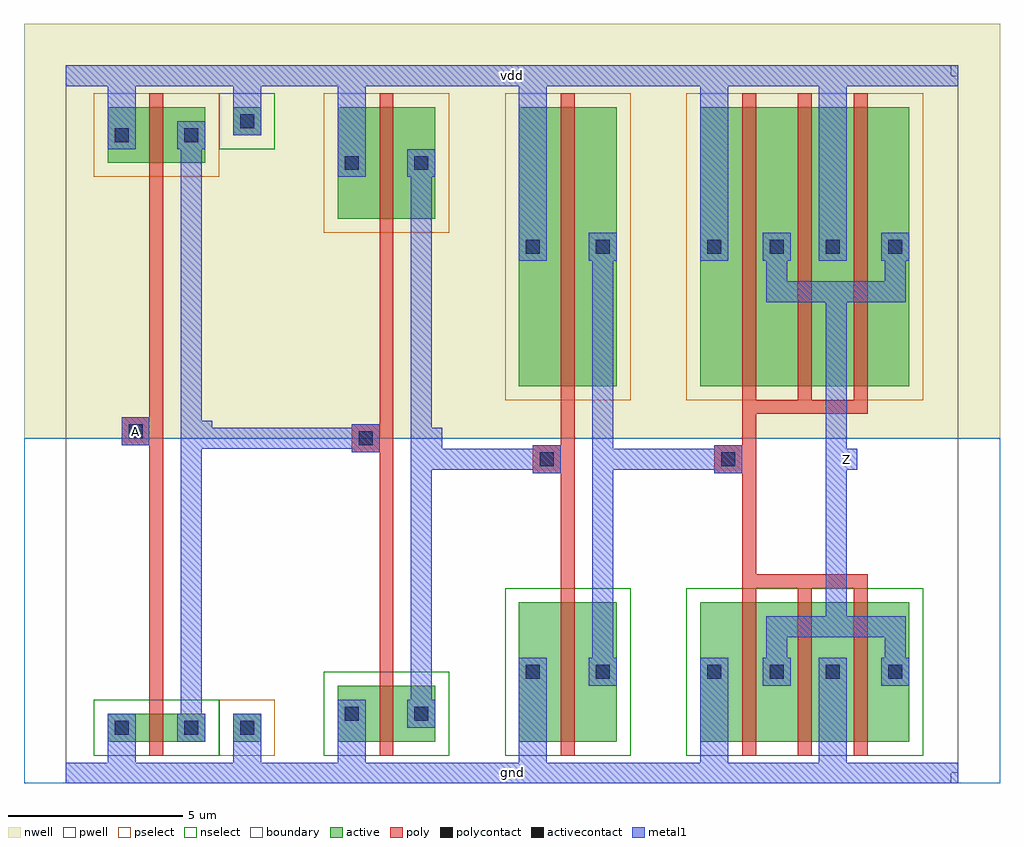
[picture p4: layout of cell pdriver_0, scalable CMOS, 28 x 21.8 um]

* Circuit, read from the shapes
.subckt pdriver_0 A Z gnd vdd
M1 pinv_5_1/A A gnd gnd nfet w=0.8u l=0.4u
M2 pinv_7_2/A pinv_5_1/A gnd gnd nfet w=1.6u l=0.4u
M3 pinv_8_3/A pinv_7_2/A gnd gnd nfet w=4u l=0.4u
M4 Z pinv_8_3/A gnd gnd nfet w=4u l=0.4u m=3
M5 pinv_5_1/A A vdd vdd pfet w=1.6u l=0.4u
M6 pinv_7_2/A pinv_5_1/A vdd vdd pfet w=3.2u l=0.4u
M7 pinv_8_3/A pinv_7_2/A vdd vdd pfet w=8u l=0.4u
M8 Z pinv_8_3/A vdd vdd pfet w=8u l=0.4u m=3
.ends

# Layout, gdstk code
import gdstk
lib = gdstk.Library(unit=1e-6, precision=1e-09)
def R(c, l, rs):  # rectangles x0, y0, x1, y1
    for r in rs: c.add(gdstk.rectangle(r[:2], r[2:], *l))
def A(c, l, x, y, w, h, nx, ny, dx, dy):  # array of equal rectangles
    R(c, l, [(x+i*dx, y+j*dy, x+i*dx+w, y+j*dy+h) for i in range(nx) for j in range(ny)])
pwell = (41, 0)
nwell = (42, 0)
active = (43, 0)
pselect = (44, 0)
nselect = (45, 0)
poly = (46, 0)
polycontact = (47, 0)
activecontact = (48, 0)
metal1 = (49, 0)
boundary = (63, 0)

contact_9 = lib.new_cell('contact_9')
R(contact_9, nwell, [(-1.2,-1.2,2,2)])
R(contact_9, active, [(0,0,0.8,0.8)])
R(contact_9, pselect, [(-0.4,-0.4,1.2,1.2)])
R(contact_9, activecontact, [(0.2,0.2,0.6,0.6)])
R(contact_9, metal1, [(0,0,0.8,0.8)])
R(contact_9, boundary, [(-1.2,-1.2,2,2)])

pmos_m1_w1_600_sm1_dm1_d = lib.new_cell('pmos_m1_w1_600_sm1_dm1_da_p')
R(pmos_m1_w1_600_sm1_dm1_d, nwell, [(-1.2,-1.2,4,2.8)])
R(pmos_m1_w1_600_sm1_dm1_d, active, [(0,0,2.8,1.6)])
R(pmos_m1_w1_600_sm1_dm1_d, pselect, [(-0.4,-0.4,3.2,2)])
R(pmos_m1_w1_600_sm1_dm1_d, poly, [(1.2,-0.4,1.6,2), (1.2,-0.4,1.6,2)])
R(pmos_m1_w1_600_sm1_dm1_d, metal1, [(0,0.4,0.8,1.2), (2,0.4,2.8,1.2)])
R(pmos_m1_w1_600_sm1_dm1_d, boundary, [(-1.2,-1.2,4,2.8)])
pmos_m1_w1_600_sm1_dm1_d.add(gdstk.Reference(contact_9, (0,0.4)))
pmos_m1_w1_600_sm1_dm1_d.add(gdstk.Reference(contact_9, (2,0.4)))
pmos_m1_w1_600_sm1_dm1_d.add(gdstk.Label('G', (1.4,0.8), layer=46, texttype=0))
pmos_m1_w1_600_sm1_dm1_d.add(gdstk.Label('S', (0.4,0.8), layer=49, texttype=0))
pmos_m1_w1_600_sm1_dm1_d.add(gdstk.Label('D', (2.4,0.8), layer=49, texttype=0))

contact_14 = lib.new_cell('contact_14')
R(contact_14, pwell, [(-1.2,-1.2,2,2)])
R(contact_14, active, [(0,0,0.8,0.8)])
R(contact_14, nselect, [(-0.4,-0.4,1.2,1.2)])
R(contact_14, activecontact, [(0.2,0.2,0.6,0.6)])
R(contact_14, metal1, [(0,0,0.8,0.8)])
R(contact_14, boundary, [(-1.2,-1.2,2,2)])

nmos_m1_w0_800_sm1_dm1_d = lib.new_cell('nmos_m1_w0_800_sm1_dm1_da_p')
R(nmos_m1_w0_800_sm1_dm1_d, pwell, [(-1.2,-1.2,4,2)])
R(nmos_m1_w0_800_sm1_dm1_d, active, [(0,0,2.8,0.8)])
R(nmos_m1_w0_800_sm1_dm1_d, nselect, [(-0.4,-0.4,3.2,1.2)])
R(nmos_m1_w0_800_sm1_dm1_d, poly, [(1.2,-0.4,1.6,1.2), (1.2,-0.4,1.6,1.2)])
R(nmos_m1_w0_800_sm1_dm1_d, metal1, [(0,0,0.8,0.8), (2,0,2.8,0.8)])
R(nmos_m1_w0_800_sm1_dm1_d, boundary, [(-1.2,-1.2,4,2)])
nmos_m1_w0_800_sm1_dm1_d.add(gdstk.Reference(contact_14, (0,0)))
nmos_m1_w0_800_sm1_dm1_d.add(gdstk.Reference(contact_14, (2,0)))
nmos_m1_w0_800_sm1_dm1_d.add(gdstk.Label('G', (1.4,0.4), layer=46, texttype=0))
nmos_m1_w0_800_sm1_dm1_d.add(gdstk.Label('S', (0.4,0.4), layer=49, texttype=0))
nmos_m1_w0_800_sm1_dm1_d.add(gdstk.Label('D', (2.4,0.4), layer=49, texttype=0))

contact_15 = lib.new_cell('contact_15')
R(contact_15, nwell, [(-1.2,-1.2,2,2)])
R(contact_15, active, [(0,0,0.8,0.8)])
R(contact_15, nselect, [(-0.4,-0.4,1.2,1.2)])
R(contact_15, activecontact, [(0.2,0.2,0.6,0.6)])
R(contact_15, metal1, [(0,0,0.8,0.8)])
R(contact_15, boundary, [(-1.2,-1.2,2,2)])

contact_16 = lib.new_cell('contact_16')
R(contact_16, pwell, [(-1.2,-1.2,2,2)])
R(contact_16, active, [(0,0,0.8,0.8)])
R(contact_16, pselect, [(-0.4,-0.4,1.2,1.2)])
R(contact_16, activecontact, [(0.2,0.2,0.6,0.6)])
R(contact_16, metal1, [(0,0,0.8,0.8)])
R(contact_16, boundary, [(-1.2,-1.2,2,2)])

contact_10 = lib.new_cell('contact_10')
R(contact_10, poly, [(0,0,0.8,0.8)])
R(contact_10, polycontact, [(0.2,0.2,0.6,0.6)])
R(contact_10, metal1, [(0,0,0.8,0.8)])
R(contact_10, boundary, [(0,0,0.8,0.8)])

pinv_6 = lib.new_cell('pinv_6')
R(pinv_6, pwell, [(-1.2,-0.3,7.8,9.6)])
R(pinv_6, nwell, [(-1.2,9.6,7.8,21.5)])
R(pinv_6, poly, [(2.4,2.1,2.8,17.1), (2,9.4,2.4,10.2)])
R(pinv_6, metal1, [(0,-0.3,6.6,0.3), (1.2,-0.3,2,0.9), (4.8,0,5.6,1.3), (3.3,0.9,3.9,18.7), (1.6,9.4,2.4,10.2), (3.6,9.5,4.2,10.1), (1.2,17.9,2,20.3), (4.8,18.7,5.6,20), (0,19.7,6.6,20.3)])
R(pinv_6, boundary, [(0,0,6.6,20), (0,0,6.6,20)])
pinv_6.add(gdstk.Reference(pmos_m1_w1_600_sm1_dm1_d, (1.2,17.5)))
pinv_6.add(gdstk.Reference(nmos_m1_w0_800_sm1_dm1_d, (1.2,0.9)))
pinv_6.add(gdstk.Reference(contact_15, (4.8,18.3)))
pinv_6.add(gdstk.Reference(contact_16, (4.8,0.9)))
pinv_6.add(gdstk.Reference(contact_10, (1.6,9.4)))
pinv_6.add(gdstk.Label('A', (2,9.8), layer=49, texttype=0))
pinv_6.add(gdstk.Label('Z', (3.9,9.8), layer=49, texttype=0))
pinv_6.add(gdstk.Label('gnd', (3.3,0), layer=49, texttype=0))
pinv_6.add(gdstk.Label('vdd', (3.3,20), layer=49, texttype=0))

pmos_m1_w3_200_sm1_dm1_d = lib.new_cell('pmos_m1_w3_200_sm1_dm1_da_p')
R(pmos_m1_w3_200_sm1_dm1_d, nwell, [(-1.2,-1.2,4,4.4)])
R(pmos_m1_w3_200_sm1_dm1_d, active, [(0,0,2.8,3.2)])
R(pmos_m1_w3_200_sm1_dm1_d, pselect, [(-0.4,-0.4,3.2,3.6)])
R(pmos_m1_w3_200_sm1_dm1_d, poly, [(1.2,-0.4,1.6,3.6), (1.2,-0.4,1.6,3.6)])
R(pmos_m1_w3_200_sm1_dm1_d, metal1, [(0,1.2,0.8,2), (2,1.2,2.8,2)])
R(pmos_m1_w3_200_sm1_dm1_d, boundary, [(-1.2,-1.2,4,4.4)])
pmos_m1_w3_200_sm1_dm1_d.add(gdstk.Reference(contact_9, (0,1.2)))
pmos_m1_w3_200_sm1_dm1_d.add(gdstk.Reference(contact_9, (2,1.2)))
pmos_m1_w3_200_sm1_dm1_d.add(gdstk.Label('G', (1.4,1.6), layer=46, texttype=0))
pmos_m1_w3_200_sm1_dm1_d.add(gdstk.Label('S', (0.4,1.6), layer=49, texttype=0))
pmos_m1_w3_200_sm1_dm1_d.add(gdstk.Label('D', (2.4,1.6), layer=49, texttype=0))

nmos_m1_w1_600_sm1_dm1_d = lib.new_cell('nmos_m1_w1_600_sm1_dm1_da_p')
R(nmos_m1_w1_600_sm1_dm1_d, pwell, [(-1.2,-1.2,4,2.8)])
R(nmos_m1_w1_600_sm1_dm1_d, active, [(0,0,2.8,1.6)])
R(nmos_m1_w1_600_sm1_dm1_d, nselect, [(-0.4,-0.4,3.2,2)])
R(nmos_m1_w1_600_sm1_dm1_d, poly, [(1.2,-0.4,1.6,2), (1.2,-0.4,1.6,2)])
R(nmos_m1_w1_600_sm1_dm1_d, metal1, [(0,0.4,0.8,1.2), (2,0.4,2.8,1.2)])
R(nmos_m1_w1_600_sm1_dm1_d, boundary, [(-1.2,-1.2,4,2.8)])
nmos_m1_w1_600_sm1_dm1_d.add(gdstk.Reference(contact_14, (0,0.4)))
nmos_m1_w1_600_sm1_dm1_d.add(gdstk.Reference(contact_14, (2,0.4)))
nmos_m1_w1_600_sm1_dm1_d.add(gdstk.Label('G', (1.4,0.8), layer=46, texttype=0))
nmos_m1_w1_600_sm1_dm1_d.add(gdstk.Label('S', (0.4,0.8), layer=49, texttype=0))
nmos_m1_w1_600_sm1_dm1_d.add(gdstk.Label('D', (2.4,0.8), layer=49, texttype=0))

pinv_5 = lib.new_cell('pinv_5')
R(pinv_5, pwell, [(-1.2,-0.3,6.4,9.6)])
R(pinv_5, nwell, [(-1.2,9.6,6.4,21.5)])
R(pinv_5, poly, [(2.4,2.9,2.8,15.5), (2,9.2,2.4,10)])
R(pinv_5, metal1, [(0,-0.3,5.2,0.3), (1.2,-0.3,2,1.3), (3.3,1.3,3.9,17.9), (1.6,9.2,2.4,10), (3.6,9.3,4.2,9.9), (1.2,17.1,2,20.3), (0,19.7,5.2,20.3)])
R(pinv_5, boundary, [(0,0,5.2,20), (0,0,5.2,20)])
pinv_5.add(gdstk.Reference(pmos_m1_w3_200_sm1_dm1_d, (1.2,15.9)))
pinv_5.add(gdstk.Reference(nmos_m1_w1_600_sm1_dm1_d, (1.2,0.9)))
pinv_5.add(gdstk.Reference(contact_10, (1.6,9.2)))
pinv_5.add(gdstk.Label('A', (2,9.6), layer=49, texttype=0))
pinv_5.add(gdstk.Label('Z', (3.9,9.6), layer=49, texttype=0))
pinv_5.add(gdstk.Label('gnd', (2.6,0), layer=49, texttype=0))
pinv_5.add(gdstk.Label('vdd', (2.6,20), layer=49, texttype=0))

pmos_m1_w8_000_sm1_dm1_d = lib.new_cell('pmos_m1_w8_000_sm1_dm1_da_p')
R(pmos_m1_w8_000_sm1_dm1_d, nwell, [(-1.2,-1.2,4,9.2)])
R(pmos_m1_w8_000_sm1_dm1_d, active, [(0,0,2.8,8)])
R(pmos_m1_w8_000_sm1_dm1_d, pselect, [(-0.4,-0.4,3.2,8.4)])
R(pmos_m1_w8_000_sm1_dm1_d, poly, [(1.2,-0.4,1.6,8.4), (1.2,-0.4,1.6,8.4)])
R(pmos_m1_w8_000_sm1_dm1_d, metal1, [(0,3.6,0.8,4.4), (2,3.6,2.8,4.4)])
R(pmos_m1_w8_000_sm1_dm1_d, boundary, [(-1.2,-1.2,4,9.2)])
pmos_m1_w8_000_sm1_dm1_d.add(gdstk.Reference(contact_9, (0,3.6)))
pmos_m1_w8_000_sm1_dm1_d.add(gdstk.Reference(contact_9, (2,3.6)))
pmos_m1_w8_000_sm1_dm1_d.add(gdstk.Label('G', (1.4,4), layer=46, texttype=0))
pmos_m1_w8_000_sm1_dm1_d.add(gdstk.Label('S', (0.4,4), layer=49, texttype=0))
pmos_m1_w8_000_sm1_dm1_d.add(gdstk.Label('D', (2.4,4), layer=49, texttype=0))

nmos_m1_w4_000_sm1_dm1_d = lib.new_cell('nmos_m1_w4_000_sm1_dm1_da_p')
R(nmos_m1_w4_000_sm1_dm1_d, pwell, [(-1.2,-1.2,4,5.2)])
R(nmos_m1_w4_000_sm1_dm1_d, active, [(0,0,2.8,4)])
R(nmos_m1_w4_000_sm1_dm1_d, nselect, [(-0.4,-0.4,3.2,4.4)])
R(nmos_m1_w4_000_sm1_dm1_d, poly, [(1.2,-0.4,1.6,4.4), (1.2,-0.4,1.6,4.4)])
R(nmos_m1_w4_000_sm1_dm1_d, metal1, [(0,1.6,0.8,2.4), (2,1.6,2.8,2.4)])
R(nmos_m1_w4_000_sm1_dm1_d, boundary, [(-1.2,-1.2,4,5.2)])
nmos_m1_w4_000_sm1_dm1_d.add(gdstk.Reference(contact_14, (0,1.6)))
nmos_m1_w4_000_sm1_dm1_d.add(gdstk.Reference(contact_14, (2,1.6)))
nmos_m1_w4_000_sm1_dm1_d.add(gdstk.Label('G', (1.4,2), layer=46, texttype=0))
nmos_m1_w4_000_sm1_dm1_d.add(gdstk.Label('S', (0.4,2), layer=49, texttype=0))
nmos_m1_w4_000_sm1_dm1_d.add(gdstk.Label('D', (2.4,2), layer=49, texttype=0))

pinv_7 = lib.new_cell('pinv_7')
R(pinv_7, pwell, [(-1.2,-0.3,6.4,9.6)])
R(pinv_7, nwell, [(-1.2,9.6,6.4,21.5)])
R(pinv_7, poly, [(2.4,5.3,2.8,10.7), (2,8.6,2.4,9.4)])
R(pinv_7, metal1, [(0,-0.3,5.2,0.3), (1.2,-0.3,2,2.5), (3.3,2.5,3.9,15.5), (1.6,8.6,2.4,9.4), (3.6,8.7,4.2,9.3), (1.2,14.7,2,20.3), (0,19.7,5.2,20.3)])
R(pinv_7, boundary, [(0,0,5.2,20), (0,0,5.2,20)])
pinv_7.add(gdstk.Reference(pmos_m1_w8_000_sm1_dm1_d, (1.2,11.1)))
pinv_7.add(gdstk.Reference(nmos_m1_w4_000_sm1_dm1_d, (1.2,0.9)))
pinv_7.add(gdstk.Reference(contact_10, (1.6,8.6)))
pinv_7.add(gdstk.Label('A', (2,9), layer=49, texttype=0))
pinv_7.add(gdstk.Label('Z', (3.9,9), layer=49, texttype=0))
pinv_7.add(gdstk.Label('gnd', (2.6,0), layer=49, texttype=0))
pinv_7.add(gdstk.Label('vdd', (2.6,20), layer=49, texttype=0))

pmos_m3_w8_000_sm1_dm1_d = lib.new_cell('pmos_m3_w8_000_sm1_dm1_da_p')
R(pmos_m3_w8_000_sm1_dm1_d, nwell, [(-1.2,-1.2,7.2,9.2)])
R(pmos_m3_w8_000_sm1_dm1_d, active, [(0,0,6,8)])
R(pmos_m3_w8_000_sm1_dm1_d, pselect, [(-0.4,-0.4,6.4,8.4)])
A(pmos_m3_w8_000_sm1_dm1_d, poly, 1.2, -0.4, 0.4, 8.8, 3, 1, 1.6, 0)
R(pmos_m3_w8_000_sm1_dm1_d, poly, [(1.2,-0.8,4.8,-0.4)])
R(pmos_m3_w8_000_sm1_dm1_d, metal1, [(1.9,2.4,5.9,3), (1.9,2.7,2.5,4), (5.3,2.7,5.9,4), (0,3.6,0.8,4.4), (3.4,3.6,4.2,4.4)])
R(pmos_m3_w8_000_sm1_dm1_d, boundary, [(-1.2,-1.2,7.2,9.2)])
pmos_m3_w8_000_sm1_dm1_d.add(gdstk.Reference(contact_9, (0,3.6)))
pmos_m3_w8_000_sm1_dm1_d.add(gdstk.Reference(contact_9, (1.8,3.6)))
pmos_m3_w8_000_sm1_dm1_d.add(gdstk.Reference(contact_9, (3.4,3.6)))
pmos_m3_w8_000_sm1_dm1_d.add(gdstk.Reference(contact_9, (5.2,3.6)))
pmos_m3_w8_000_sm1_dm1_d.add(gdstk.Label('G', (3,-0.6), layer=46, texttype=0))
pmos_m3_w8_000_sm1_dm1_d.add(gdstk.Label('S', (0.4,4), layer=49, texttype=0))
pmos_m3_w8_000_sm1_dm1_d.add(gdstk.Label('S', (3.8,4), layer=49, texttype=0))
pmos_m3_w8_000_sm1_dm1_d.add(gdstk.Label('D', (3.9,2.7), layer=49, texttype=0))

nmos_m3_w4_000_sm1_dm1_d = lib.new_cell('nmos_m3_w4_000_sm1_dm1_da_p')
R(nmos_m3_w4_000_sm1_dm1_d, pwell, [(-1.2,-1.2,7.2,5.2)])
R(nmos_m3_w4_000_sm1_dm1_d, active, [(0,0,6,4)])
R(nmos_m3_w4_000_sm1_dm1_d, nselect, [(-0.4,-0.4,6.4,4.4)])
A(nmos_m3_w4_000_sm1_dm1_d, poly, 1.2, -0.4, 0.4, 4.8, 3, 1, 1.6, 0)
R(nmos_m3_w4_000_sm1_dm1_d, poly, [(1.2,4.4,4.8,4.8)])
R(nmos_m3_w4_000_sm1_dm1_d, metal1, [(0,1.6,0.8,2.4), (3.4,1.6,4.2,2.4), (1.9,2,2.5,3.3), (5.3,2,5.9,3.3), (1.9,3,5.9,3.6)])
R(nmos_m3_w4_000_sm1_dm1_d, boundary, [(-1.2,-1.2,7.2,5.2)])
nmos_m3_w4_000_sm1_dm1_d.add(gdstk.Reference(contact_14, (0,1.6)))
nmos_m3_w4_000_sm1_dm1_d.add(gdstk.Reference(contact_14, (1.8,1.6)))
nmos_m3_w4_000_sm1_dm1_d.add(gdstk.Reference(contact_14, (3.4,1.6)))
nmos_m3_w4_000_sm1_dm1_d.add(gdstk.Reference(contact_14, (5.2,1.6)))
nmos_m3_w4_000_sm1_dm1_d.add(gdstk.Label('G', (3,4.6), layer=46, texttype=0))
nmos_m3_w4_000_sm1_dm1_d.add(gdstk.Label('S', (0.4,2), layer=49, texttype=0))
nmos_m3_w4_000_sm1_dm1_d.add(gdstk.Label('S', (3.8,2), layer=49, texttype=0))
nmos_m3_w4_000_sm1_dm1_d.add(gdstk.Label('D', (3.9,3.3), layer=49, texttype=0))

pinv_8 = lib.new_cell('pinv_8')
R(pinv_8, pwell, [(-1.2,-0.3,9.8,9.6)])
R(pinv_8, nwell, [(-1.2,9.6,9.8,21.5)])
R(pinv_8, poly, [(2.4,5.7,2.8,10.3), (2,8.6,2.4,9.4)])
R(pinv_8, metal1, [(0,-0.3,8.6,0.3), (1.2,-0.3,2,2.5), (4.6,-0.3,5.4,2.5), (4.8,3.9,5.4,14.1), (1.6,8.6,2.4,9.4), (5.1,8.7,5.7,9.3), (1.2,14.7,2,20.3), (4.6,14.7,5.4,20.3), (0,19.7,8.6,20.3)])
R(pinv_8, boundary, [(0,0,8.6,20), (0,0,8.6,20)])
pinv_8.add(gdstk.Reference(pmos_m3_w8_000_sm1_dm1_d, (1.2,11.1)))
pinv_8.add(gdstk.Reference(nmos_m3_w4_000_sm1_dm1_d, (1.2,0.9)))
pinv_8.add(gdstk.Reference(contact_10, (1.6,8.6)))
pinv_8.add(gdstk.Label('A', (2,9), layer=49, texttype=0))
pinv_8.add(gdstk.Label('Z', (5.4,9), layer=49, texttype=0))
pinv_8.add(gdstk.Label('gnd', (4.3,0), layer=49, texttype=0))
pinv_8.add(gdstk.Label('vdd', (4.3,20), layer=49, texttype=0))

pdriver_0 = lib.new_cell('pdriver_0')
R(pdriver_0, pwell, [(-1.2,-0.3,26.8,9.6)])
R(pdriver_0, nwell, [(-1.2,9.6,26.8,21.5)])
R(pdriver_0, metal1, [(0,-0.3,25.6,0.3), (10.2,8.7,10.8,9.3), (10.5,8.7,13.8,9.3), (15.7,8.7,19,9.3), (22.1,8.7,22.7,9.3), (10.2,9,10.8,9.6), (3.6,9.3,4.2,9.9), (3.9,9.3,8.6,9.9), (1.6,9.4,2.4,10.2), (3.6,9.6,4.2,9.8), (0,19.7,25.6,20.3)])
R(pdriver_0, boundary, [(0,0,25.6,20), (0,0,25.6,20)])
pdriver_0.add(gdstk.Reference(pinv_6, (0,0)))
pdriver_0.add(gdstk.Reference(pinv_5, (6.6,0)))
pdriver_0.add(gdstk.Reference(pinv_7, (11.8,0)))
pdriver_0.add(gdstk.Reference(pinv_8, (17,0)))
pdriver_0.add(gdstk.Label('Z', (22.4,9), layer=49, texttype=0))
pdriver_0.add(gdstk.Label('A', (2,9.8), layer=49, texttype=0))
pdriver_0.add(gdstk.Label('gnd', (12.8,0), layer=49, texttype=0))
pdriver_0.add(gdstk.Label('vdd', (12.8,20), layer=49, texttype=0))

lib.write_gds('pdriver_0.gds')
